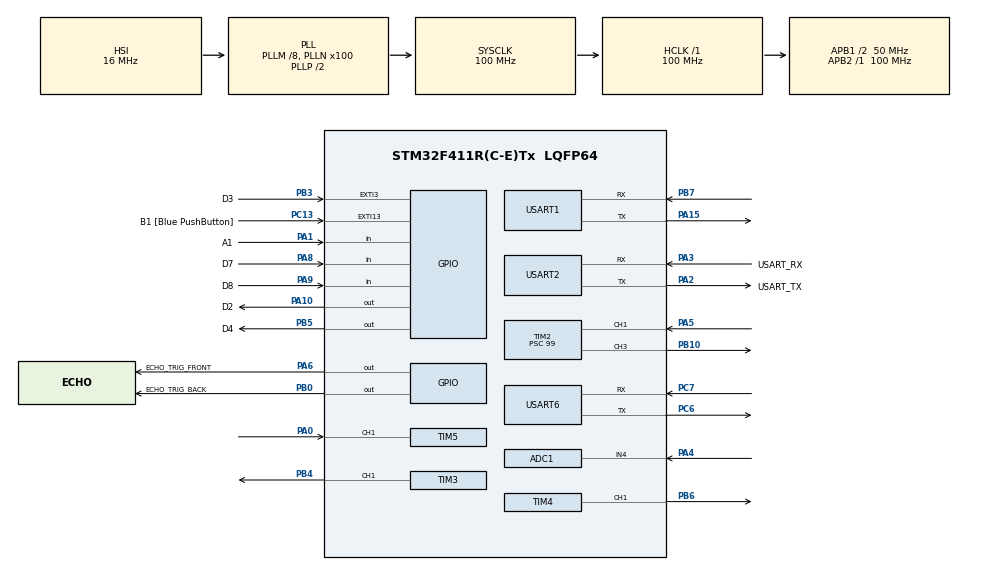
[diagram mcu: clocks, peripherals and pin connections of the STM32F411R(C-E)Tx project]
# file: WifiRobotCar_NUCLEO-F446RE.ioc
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ADC1.Channel-2\#ChannelRegularConversion=ADC_CHANNEL_4
ADC1.InjNumberOfConversion=0
ADC1.NbrOfConversion=1
ADC1.NbrOfConversionFlag=1
ADC1.Rank-2\#ChannelRegularConversion=1
ADC1.SamplingTime-2\#ChannelRegularConversion=ADC_SAMPLETIME_3CYCLES
ADC1.master=1
Dma.Request0=USART2_RX
Dma.Request1=USART6_RX
Dma.Request2=USART1_RX
Dma.USART1_RX.2.Direction=DMA_PERIPH_TO_MEMORY
Dma.USART1_RX.2.FIFOMode=DMA_FIFOMODE_DISABLE
Dma.USART1_RX.2.Instance=DMA2_Stream2
Dma.USART1_RX.2.MemDataAlignment=DMA_MDATAALIGN_BYTE
Dma.USART1_RX.2.MemInc=DMA_MINC_ENABLE
Dma.USART1_RX.2.Mode=DMA_CIRCULAR
Dma.USART1_RX.2.PeriphDataAlignment=DMA_PDATAALIGN_BYTE
Dma.USART1_RX.2.PeriphInc=DMA_PINC_DISABLE
Dma.USART1_RX.2.Priority=DMA_PRIORITY_LOW
Dma.USART2_RX.0.Direction=DMA_PERIPH_TO_MEMORY
Dma.USART2_RX.0.FIFOMode=DMA_FIFOMODE_DISABLE
Dma.USART2_RX.0.Instance=DMA1_Stream5
Dma.USART2_RX.0.MemDataAlignment=DMA_MDATAALIGN_BYTE
Dma.USART2_RX.0.MemInc=DMA_MINC_ENABLE
Dma.USART2_RX.0.Mode=DMA_CIRCULAR
Dma.USART2_RX.0.PeriphDataAlignment=DMA_PDATAALIGN_BYTE
Dma.USART2_RX.0.PeriphInc=DMA_PINC_DISABLE
Dma.USART2_RX.0.Priority=DMA_PRIORITY_LOW
Dma.USART6_RX.1.Direction=DMA_PERIPH_TO_MEMORY
Dma.USART6_RX.1.FIFOMode=DMA_FIFOMODE_DISABLE
Dma.USART6_RX.1.Instance=DMA2_Stream1
Dma.USART6_RX.1.MemDataAlignment=DMA_MDATAALIGN_BYTE
Dma.USART6_RX.1.MemInc=DMA_MINC_ENABLE
Dma.USART6_RX.1.Mode=DMA_CIRCULAR
Dma.USART6_RX.1.PeriphDataAlignment=DMA_PDATAALIGN_BYTE
Dma.USART6_RX.1.PeriphInc=DMA_PINC_DISABLE
Dma.USART6_RX.1.Priority=DMA_PRIORITY_LOW
Mcu.Family=STM32F4
Mcu.Name=STM32F411R(C-E)Tx
Mcu.Package=LQFP64
NVIC.DMA1_Stream5_IRQn=true\:0\:0\:false\:false\:true\:false\:true\:true
NVIC.DMA2_Stream1_IRQn=true\:0\:0\:false\:false\:true\:false\:true\:true
NVIC.DMA2_Stream2_IRQn=true\:0\:0\:false\:false\:true\:false\:true\:true
NVIC.EXTI3_IRQn=true\:0\:0\:false\:false\:true\:true\:true\:true
NVIC.PriorityGroup=NVIC_PRIORITYGROUP_0
NVIC.TIM1_UP_TIM10_IRQn=true\:0\:0\:false\:false\:true\:true\:true\:true
NVIC.TIM2_IRQn=true\:0\:0\:false\:false\:true\:true\:true\:true
NVIC.TIM5_IRQn=true\:0\:0\:false\:false\:true\:true\:true\:true
NVIC.TimeBase=TIM1_UP_TIM10_IRQn
NVIC.TimeBaseIP=TIM10
NVIC.USART1_IRQn=true\:0\:0\:false\:false\:true\:true\:true\:true
NVIC.USART2_IRQn=true\:0\:0\:false\:false\:true\:true\:true\:true
NVIC.USART6_IRQn=true\:0\:0\:false\:false\:true\:true\:true\:true
PA0-WKUP.Signal=S_TIM5_CH1
PA1.GPIO_Label=A1
PA1.Signal=GPIO_Input
PA10.GPIO_Label=D2
PA10.Signal=GPIO_Output
PA13.GPIO_Label=TMS
PA13.Mode=Serial_Wire
PA13.Signal=SYS_JTMS-SWDIO
PA14.GPIO_Label=TCK
PA14.Mode=Serial_Wire
PA14.Signal=SYS_JTCK-SWCLK
PA15.Mode=Asynchronous
PA15.Signal=USART1_TX
PA2.GPIO_Label=USART_TX
PA2.Mode=Asynchronous
PA2.Signal=USART2_TX
PA3.GPIO_Label=USART_RX
PA3.Mode=Asynchronous
PA3.Signal=USART2_RX
PA4.Signal=ADCx_IN4
PA5.Signal=S_TIM2_CH1_ETR
PA6.GPIO_Label=ECHO_TRIG_FRONT
PA6.Signal=GPIO_Output
PA8.GPIO_Label=D7
PA8.Signal=GPIO_Input
PA9.GPIO_Label=D8
PA9.Signal=GPIO_Input
PB0.GPIO_Label=ECHO_TRIG_BACK
PB0.Signal=GPIO_Output
PB10.Signal=S_TIM2_CH3
PB3.GPIO_Label=D3
PB3.GPIO_ModeDefaultEXTI=GPIO_MODE_IT_FALLING
PB3.Signal=GPXTI3
PB4.Signal=S_TIM3_CH1
PB5.GPIO_Label=D4
PB5.Signal=GPIO_Output
PB6.Signal=S_TIM4_CH1
PB7.Mode=Asynchronous
PB7.Signal=USART1_RX
PC13-ANTI_TAMP.GPIO_Label=B1 [Blue PushButton]
PC13-ANTI_TAMP.GPIO_ModeDefaultEXTI=GPIO_MODE_IT_FALLING
PC13-ANTI_TAMP.Signal=GPXTI13
PC14-OSC32_IN.Signal=RCC_OSC32_IN
PC15-OSC32_OUT.Signal=RCC_OSC32_OUT
PC6.Mode=Asynchronous
PC6.Signal=USART6_TX
PC7.Mode=Asynchronous
PC7.Signal=USART6_RX
PH0\ -\ OSC_IN.Signal=RCC_OSC_IN
PH1\ -\ OSC_OUT.Signal=RCC_OSC_OUT
ProjectManager.HeapSize=0x200
ProjectManager.StackSize=0x400
ProjectManager.TargetToolchain=STM32CubeIDE
RCC.48MHZClocksFreq_Value=50000000
RCC.AHBFreq_Value=100000000
RCC.APB1CLKDivider=RCC_HCLK_DIV2
RCC.APB1Freq_Value=50000000
RCC.APB1TimFreq_Value=100000000
RCC.APB2Freq_Value=100000000
RCC.APB2TimFreq_Value=100000000
RCC.CortexFreq_Value=100000000
RCC.FLatency-AdvancedSettings=FLASH_LATENCY_3
RCC.HCLKFreq_Value=100000000
RCC.HSE_VALUE=8000000
RCC.HSI_VALUE=16000000
RCC.LSE_VALUE=32768
RCC.PLLM=8
RCC.PLLN=100
RCC.SYSCLKFreq_VALUE=100000000
RCC.SYSCLKSource=RCC_SYSCLKSOURCE_PLLCLK
RCC.VCOOutputFreq_Value=200000000
SH.ADCx_IN4.0=ADC1_IN4,IN4
SH.S_TIM2_CH1_ETR.0=TIM2_CH1,Input_Capture1_from_TI1
SH.S_TIM2_CH3.0=TIM2_CH3,PWM Generation3 CH3
SH.S_TIM3_CH1.0=TIM3_CH1,PWM Generation1 CH1
SH.S_TIM4_CH1.0=TIM4_CH1,PWM Generation1 CH1
SH.S_TIM5_CH1.0=TIM5_CH1,Input_Capture1_from_TI1
TIM11.Prescaler=99
TIM2.Channel-Input_Capture1_from_TI1=TIM_CHANNEL_1
TIM2.Channel-PWM\ Generation3\ CH3=TIM_CHANNEL_3
TIM2.Period=999
TIM2.Prescaler=99
TIM3.Channel-PWM\ Generation1\ CH1=TIM_CHANNEL_1
TIM3.Period=999
TIM3.Prescaler=99
TIM4.Channel-PWM\ Generation1\ CH1=TIM_CHANNEL_1
TIM4.Period=1999
TIM4.Prescaler=999
TIM4.Pulse-PWM\ Generation1\ CH1=49
TIM5.Channel-Input_Capture1_from_TI1=TIM_CHANNEL_1
USART1.VirtualMode=VM_ASYNC
USART2.VirtualMode=VM_ASYNC
USART6.VirtualMode=VM_ASYNC
VP_SYS_VS_tim10.Mode=TIM10
VP_TIM11_VS_ClockSourceINT.Mode=Enable_Timer
VP_TIM2_VS_ClockSourceINT.Mode=Internal
VP_TIM3_VS_ClockSourceINT.Mode=Internal
VP_TIM4_VS_ClockSourceINT.Mode=Internal
VP_TIM5_VS_ClockSourceINT.Mode=Internal
board=NUCLEO-F411RE

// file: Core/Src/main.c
/* USER CODE BEGIN Header */
/**
  ******************************************************************************
  * @file           : main.c
  * @brief          : Main program body
  ******************************************************************************
  * @attention
  *
  * Copyright (c) 2023 STMicroelectronics.
  * All rights reserved.
  *
  * This software is licensed under terms that can be found in the LICENSE file
  * in the root directory of this software component.
  * If no LICENSE file comes with this software, it is provided AS-IS.
  *
  ******************************************************************************
  */
/* USER CODE END Header */
#include "main.h"
#include "adc.h"
#include "dma.h"
#include "tim.h"
#include "usart.h"
#include "gpio.h"

/* USER CODE BEGIN Includes */
#include <stdio.h>
#include <stdbool.h>
#include "HCSR04.h"
#include "tm_stm32_delay.h"
/* USER CODE END Includes */

/* USER CODE BEGIN PTD */
typedef enum {
    White = 0,
    Black = 1
} LineColor_en;

typedef enum {
	Straight = 0,
	Rotation = 1,
	Turning = 2
}TypeMovement_en;

typedef struct {
    volatile bool LeftTraValue;
    volatile bool CenterTraValue;
    volatile bool RightTraValue;
} InfraredValues;
/* USER CODE END PTD */

/* USER CODE BEGIN PD */
#define FORWARD_SPEED			(70)
#define TURNING_SPEED			(FORWARD_SPEED)
#define ROTATE_SPEED 			(FORWARD_SPEED / 2)
#define ACCELERATION			(2)
#define DISTANCE_STOP			(20U)
#define CMD_LEN_1				(3U)
#define CMD_LEN_2				(4U)
#define CMD_LEN_6				(3U)
#define SERVO_ANGLE				(90U)
#define MAX_ATTEMPTS 			(3U)
#define AUTO_STOP_DELAY_TIME	(500U)
#define SEARCH_TRACK_LINE_TIME	(500U)
#define HCSR04_SENSOR1  		(0U)
#define HCSR04_SENSOR2  		(1U)
#define PERIOD_SCAN_MOVE_CMD	(20U)
#define PERIOD_SCAN_DISTANCE	(100U)
#define PERIOD_SCAN_VOLTAGE_BAT (5000U)
#define REPEAT					(1U)
#define ONCE					(0U)
#define IMMEDIATELY				(1U)
#define AFTER_START_API			(0U)
#define HCSR04_SENSOR1  		(0U)
#define MAX_VOLTAGE_BAT			(9.2)
#define MIN_VOLTAGE_BAT			(5.6)
/* USER CODE END PD */

/* USER CODE BEGIN PV */
//FORVARD			%F#
//BACKWARD			%B#
//LEFT				%L#
//RIGHT				%R#
//CAM_UP			%H#
//CAM_DOWN			%G#
//LINE_TRACKING		%T#
//OBJECT_AVOIDANCE	%A#
//OBJECT_FOLOWING	%Z#
//STOP				%S#
uint8_t rxBuffer_1[CMD_LEN_1] = {'\000'};
uint8_t rxBuffer_2[CMD_LEN_2] = {'\000'};
uint8_t rxBuffer_6[CMD_LEN_6] = {'\000'};
volatile uint8_t cmd = '\000';
volatile bool flagCmdCompletion = false;
volatile bool flagDirect = false;
volatile bool flagScanDistance = false;
volatile bool flagScanVoltageBat = false;
uint8_t servoAngle = SERVO_ANGLE;
uint8_t bitIndex;
uint8_t cmdli;
uint32_t code;
uint32_t tempCode;
InfraredValues infrared;
float distanceFront = 0.0;
float distanceBack = 0.0;
float voltageBat = 0.0;
TM_DELAY_Timer_t* pTimerScanMoveCmd;
TM_DELAY_Timer_t* pTimerAutoStop;
TM_DELAY_Timer_t* pTimerSearchTrackLine;
TM_DELAY_Timer_t* pTimerScanDistance;
TM_DELAY_Timer_t* pTimerScanVoltageBat;
int currentSpeed = 0;
/* USER CODE END PV */

void SystemClock_Config(void);
/* USER CODE BEGIN PFP */
void Move_Forward(int car_speed);
void Move_Backward(int car_speed);
void Rotate_Left(int car_speed);
void Rotate_Right(int car_speed);
void Turn_Left(int car_speed);
void Turn_Right(int car_speed);
void Stop();
void Move(int car_speed, TypeMovement_en type);
uint8_t ConvertCode (uint32_t code);
int map(int st1, int fn1, int st2, int fn2, int value);
void ServoWrite(int angle);
void InfraredTracing(InfraredValues* infrared);
void ReadSensors(InfraredValues* infrared);
void ScanMoveCmd(struct _TM_DELAY_Timer_t* my_timer, void *parameters);
void AutoStopMove(struct _TM_DELAY_Timer_t* my_timer, void *parameters);
void SearchTrackLine(struct _TM_DELAY_Timer_t* my_timer, void *parameters);
void ScanDistance(struct _TM_DELAY_Timer_t* my_timer, void *parameters);
void ScanVoltageBat(struct _TM_DELAY_Timer_t* my_timer, void *parameters);
float UltraSonicDistance(uint8_t idx);
/* USER CODE END PFP */

/* USER CODE BEGIN 0 */
int _write(int file, char *ptr, int len)
{
	HAL_UART_Transmit(&huart2, (uint8_t*) ptr, len, HAL_MAX_DELAY);
	return len;
}
/* USER CODE END 0 */

int main(void)
{

  /* MCU Configuration--------------------------------------------------------*/

  /* Reset of all peripherals, Initializes the Flash interface and the Systick. */
  HAL_Init();

  /* Configure the system clock */
  SystemClock_Config();

  /* Initialize all configured peripherals */
  MX_GPIO_Init();
  MX_DMA_Init();
  MX_USART2_UART_Init();
  MX_TIM2_Init();
  MX_TIM3_Init();
  MX_USART6_UART_Init();
  MX_USART1_UART_Init();
  MX_TIM11_Init();
  MX_TIM4_Init();
  MX_TIM5_Init();
  MX_ADC1_Init();
  /* USER CODE BEGIN 2 */
  printf("WiFi Robot Car is Started\r\n");
  HAL_ADC_Start(&hadc1);
  HAL_TIM_PWM_Start(&htim2, TIM_CHANNEL_3);
  HAL_TIM_PWM_Start(&htim3, TIM_CHANNEL_1);
  HAL_UART_Receive_DMA(&huart1, rxBuffer_1, CMD_LEN_1);
  HAL_UART_Receive_DMA(&huart2, rxBuffer_2, CMD_LEN_2);
  HAL_UART_Receive_DMA(&huart6, rxBuffer_6, CMD_LEN_6);
  HAL_TIM_Base_Start(&htim11);
  __HAL_TIM_SET_COUNTER(&htim11, 0);
  HAL_TIM_PWM_Start(&htim4, TIM_CHANNEL_1);
  ServoWrite(90);
  TM_DELAY_Init();
  HCSR04_Init(HCSR04_SENSOR1, &htim2);
  HCSR04_Init(HCSR04_SENSOR2, &htim5);
  pTimerScanMoveCmd	= TM_DELAY_TimerCreate(PERIOD_SCAN_MOVE_CMD, REPEAT, IMMEDIATELY, ScanMoveCmd, NULL);
  pTimerAutoStop = TM_DELAY_TimerCreate(AUTO_STOP_DELAY_TIME, ONCE, AFTER_START_API, AutoStopMove, NULL);
  pTimerSearchTrackLine = TM_DELAY_TimerCreate(SEARCH_TRACK_LINE_TIME, REPEAT, AFTER_START_API, SearchTrackLine, NULL);
  pTimerScanDistance = TM_DELAY_TimerCreate(PERIOD_SCAN_DISTANCE, REPEAT, IMMEDIATELY, ScanDistance, NULL);
  pTimerScanDistance = TM_DELAY_TimerCreate(PERIOD_SCAN_VOLTAGE_BAT, REPEAT, IMMEDIATELY, ScanVoltageBat, NULL);
  /* USER CODE END 2 */

  /* Infinite loop */
  /* USER CODE BEGIN WHILE */
  while (1)
  {
	  if (flagScanVoltageBat)
	  {
		  flagScanVoltageBat = false;
		  HAL_ADC_Start(&hadc1);
		  voltageBat = (float) HAL_ADC_GetValue(&hadc1) * MAX_VOLTAGE_BAT / 4096.0;
		  printf("ADC value = %ld.%d (%d%%)\r\n", (uint32_t) voltageBat,
				  (uint8_t) (((float) voltageBat - (uint32_t) voltageBat) * 10.0),
				  map(56, 84, 0, 100, (int) (voltageBat * 10.0)));
		  if (voltageBat < MIN_VOLTAGE_BAT)
		  {
			  Error_Handler();
		  }
	  }

	  if (flagScanDistance)
	  {
		  flagScanDistance = false;

		  distanceFront = UltraSonicDistance(HCSR04_SENSOR1);
		  distanceBack = UltraSonicDistance(HCSR04_SENSOR2);
//		  printf("Distance Front = %d\r\n", (int) distanceFront);
//		  printf("Distance Back = %d\r\n", (int) distanceBack);

		  if (distanceFront < DISTANCE_STOP && cmd == 'F')
		  {
			  currentSpeed = 0;
			  __HAL_TIM_SET_COMPARE(&htim2, TIM_CHANNEL_3, (uint32_t) currentSpeed);
			  __HAL_TIM_SET_COMPARE(&htim3, TIM_CHANNEL_1, (uint32_t) currentSpeed);
			  cmd = 'S';
		  }

		  if (distanceBack < DISTANCE_STOP && cmd == 'B')
		  {
			  currentSpeed = 0;
			  __HAL_TIM_SET_COMPARE(&htim2, TIM_CHANNEL_3, (uint32_t) currentSpeed);
			  __HAL_TIM_SET_COMPARE(&htim3, TIM_CHANNEL_1, (uint32_t) currentSpeed);
			  cmd = 'S';
		  }
	  }

	  if (flagCmdCompletion)
	  {
		  flagCmdCompletion = false;
		  printf("CMD: %c\r\n", cmd);
		  switch (cmd)
		  {
				case 'H':
					servoAngle = servoAngle + 4;
					if (servoAngle >= 180)
					{
						servoAngle = 180;
					}
					ServoWrite(servoAngle);
					break;
				case 'G':
					servoAngle = servoAngle - 4;
					if (servoAngle <= 0)
					{
						servoAngle = 0;
					}
					ServoWrite(servoAngle);
					break;
				case 'T':
					InfraredTracing(&infrared);
					break;
				default:
					break;
	  }
	}
    /* USER CODE END WHILE */

  }
}

void SystemClock_Config(void)
{
  RCC_OscInitTypeDef RCC_OscInitStruct = {0};
  RCC_ClkInitTypeDef RCC_ClkInitStruct = {0};

  /** Configure the main internal regulator output voltage
  */
  __HAL_RCC_PWR_CLK_ENABLE();
  __HAL_PWR_VOLTAGESCALING_CONFIG(PWR_REGULATOR_VOLTAGE_SCALE1);

  /** Initializes the RCC Oscillators according to the specified parameters
  * in the RCC_OscInitTypeDef structure.
  */
  RCC_OscInitStruct.OscillatorType = RCC_OSCILLATORTYPE_HSI;
  RCC_OscInitStruct.HSIState = RCC_HSI_ON;
  RCC_OscInitStruct.HSICalibrationValue = RCC_HSICALIBRATION_DEFAULT;
  RCC_OscInitStruct.PLL.PLLState = RCC_PLL_ON;
  RCC_OscInitStruct.PLL.PLLSource = RCC_PLLSOURCE_HSI;
  RCC_OscInitStruct.PLL.PLLM = 8;
  RCC_OscInitStruct.PLL.PLLN = 100;
  RCC_OscInitStruct.PLL.PLLP = RCC_PLLP_DIV2;
  RCC_OscInitStruct.PLL.PLLQ = 4;
  if (HAL_RCC_OscConfig(&RCC_OscInitStruct) != HAL_OK)
  {
    Error_Handler();
  }

  /** Initializes the CPU, AHB and APB buses clocks
  */
  RCC_ClkInitStruct.ClockType = RCC_CLOCKTYPE_HCLK|RCC_CLOCKTYPE_SYSCLK
                              |RCC_CLOCKTYPE_PCLK1|RCC_CLOCKTYPE_PCLK2;
  RCC_ClkInitStruct.SYSCLKSource = RCC_SYSCLKSOURCE_PLLCLK;
  RCC_ClkInitStruct.AHBCLKDivider = RCC_SYSCLK_DIV1;
  RCC_ClkInitStruct.APB1CLKDivider = RCC_HCLK_DIV2;
  RCC_ClkInitStruct.APB2CLKDivider = RCC_HCLK_DIV1;

  if (HAL_RCC_ClockConfig(&RCC_ClkInitStruct, FLASH_LATENCY_3) != HAL_OK)
  {
    Error_Handler();
  }
}

/* USER CODE BEGIN 4 */
void HAL_GPIO_EXTI_Callback(uint16_t GPIO_Pin)
{
	if(GPIO_Pin == D3_Pin)
	{
		if (__HAL_TIM_GET_COUNTER(&htim11) > 8000)
		{
		  tempCode = 0;
		  bitIndex = 0;
		}
		else if (__HAL_TIM_GET_COUNTER(&htim11) > 1700)
		{
		  tempCode |= (1UL << (31-bitIndex));   // write 1
		  bitIndex++;
		}
		else if (__HAL_TIM_GET_COUNTER(&htim11) > 1000)
		{
		  tempCode &= ~(1UL << (31-bitIndex));  // write 0
		  bitIndex++;
		}
		if(bitIndex == 32)
		{
		  cmdli = ~tempCode; // Logical inverted last 8 bits
		  cmd = tempCode >> 8; // Second last 8 bits

		  if(cmdli == cmd) // Check for errors
		  {
			code = tempCode; // If no bit errors
			printf("IrDA cmd: %#lx\r\n", code);
			cmd = ConvertCode(code);
		  }
		  bitIndex = 0;
		}
		  __HAL_TIM_SET_COUNTER(&htim11, 0);
	}
}

void HAL_UART_RxCpltCallback(UART_HandleTypeDef *huart)
{
	if (huart->Instance == USART1)
	{
		if (('%' == rxBuffer_1[0]) && ('#' == rxBuffer_1[2]))
		{
			cmd = rxBuffer_1[1];
			rxBuffer_1[0] = '\000';
			rxBuffer_1[1] = '\000';
			rxBuffer_1[2] = '\000';
			flagCmdCompletion = true;
		}
	}

	if (huart->Instance == USART2)
	{
		if (('%' == rxBuffer_2[0]) && ('#' == rxBuffer_2[2]))
		{
			cmd = rxBuffer_2[1];
			rxBuffer_2[0] = '\000';
			rxBuffer_2[1] = '\000';
			rxBuffer_2[2] = '\000';
			flagCmdCompletion = true;
		}
	}

	if (huart->Instance == USART6)
	{
		if (('%' == rxBuffer_6[0]) && ('#' == rxBuffer_6[2]))
		{
			cmd = rxBuffer_6[1];
			rxBuffer_6[0] = '\000';
			rxBuffer_6[1] = '\000';
			rxBuffer_6[2] = '\000';
			flagCmdCompletion = true;
			pTimerAutoStop = TM_DELAY_TimerAutoReloadValue(pTimerAutoStop, AUTO_STOP_DELAY_TIME);
			pTimerAutoStop = TM_DELAY_TimerStart(pTimerAutoStop);
		}
	}
}

void HAL_TIM_IC_CaptureCallback(TIM_HandleTypeDef *htim)
{
	HCSR04_TMR_IC_ISR(htim);
}

void Move_Forward(int car_speed)
{
	Move(car_speed, Straight);
}

void Move_Backward(int car_speed)
{
	Move(-car_speed, Straight);
}

void Rotate_Left(int car_speed)
{
	Move(-car_speed, Rotation);
}

void Rotate_Right(int car_speed)
{
	Move(car_speed, Rotation);
}

void Turn_Left(int car_speed)
{
	Move(-car_speed, Turning);
}

void Turn_Right(int car_speed)
{
	Move(car_speed, Turning);
}

void Stop()
{
	Move(0, Straight);
}

void Move(int car_speed, TypeMovement_en type)
{
	int pulse;

	if (currentSpeed < car_speed)
	{
		currentSpeed = currentSpeed + ACCELERATION;

		if (currentSpeed > car_speed)
		{
			currentSpeed = car_speed;
		}
	}
	else if (currentSpeed > car_speed)
	{
		currentSpeed = currentSpeed - ACCELERATION;

		if (currentSpeed < car_speed)
		{
			currentSpeed = car_speed;
		}
	}
	else
	{
		currentSpeed = currentSpeed;
	}

	if (currentSpeed > 0)
	{
		pulse = map(0, 100, 0, 999, currentSpeed);
		if (type == Straight)
		{
			HAL_GPIO_WritePin(D2_GPIO_Port, D2_Pin, GPIO_PIN_SET);
			HAL_GPIO_WritePin(D4_GPIO_Port, D4_Pin, GPIO_PIN_RESET);
			__HAL_TIM_SET_COMPARE(&htim2, TIM_CHANNEL_3, (uint32_t) pulse);
			__HAL_TIM_SET_COMPARE(&htim3, TIM_CHANNEL_1, (uint32_t) pulse);
		}
		else if (type == Rotation)
		{
			HAL_GPIO_WritePin(D2_GPIO_Port, D2_Pin, GPIO_PIN_SET);
			HAL_GPIO_WritePin(D4_GPIO_Port, D4_Pin, GPIO_PIN_SET);
			__HAL_TIM_SET_COMPARE(&htim2, TIM_CHANNEL_3, (uint32_t) pulse);
			__HAL_TIM_SET_COMPARE(&htim3, TIM_CHANNEL_1, (uint32_t) pulse);
		}
		else if (type == Turning)
		{
			HAL_GPIO_WritePin(D2_GPIO_Port, D2_Pin, GPIO_PIN_SET);
			HAL_GPIO_WritePin(D4_GPIO_Port, D4_Pin, GPIO_PIN_RESET);
			__HAL_TIM_SET_COMPARE(&htim2, TIM_CHANNEL_3, (uint32_t) pulse / 3);
			__HAL_TIM_SET_COMPARE(&htim3, TIM_CHANNEL_1, (uint32_t) pulse);
		}
	}
	else
	{
		pulse = map(0, -100, 0, 999, currentSpeed);
		if (type == Straight)
		{
			HAL_GPIO_WritePin(D2_GPIO_Port, D2_Pin, GPIO_PIN_RESET);
			HAL_GPIO_WritePin(D4_GPIO_Port, D4_Pin, GPIO_PIN_SET);
			__HAL_TIM_SET_COMPARE(&htim2, TIM_CHANNEL_3, (uint32_t) pulse);
			__HAL_TIM_SET_COMPARE(&htim3, TIM_CHANNEL_1, (uint32_t) pulse);
		}
		else if (type == Rotation)
		{
			HAL_GPIO_WritePin(D2_GPIO_Port, D2_Pin, GPIO_PIN_RESET);
			HAL_GPIO_WritePin(D4_GPIO_Port, D4_Pin, GPIO_PIN_RESET);
			__HAL_TIM_SET_COMPARE(&htim2, TIM_CHANNEL_3, (uint32_t) pulse);
			__HAL_TIM_SET_COMPARE(&htim3, TIM_CHANNEL_1, (uint32_t) pulse);
		}
		else if (type == Turning)
		{
			HAL_GPIO_WritePin(D2_GPIO_Port, D2_Pin, GPIO_PIN_SET);
			HAL_GPIO_WritePin(D4_GPIO_Port, D4_Pin, GPIO_PIN_RESET);
			__HAL_TIM_SET_COMPARE(&htim2, TIM_CHANNEL_3, (uint32_t) pulse);
			__HAL_TIM_SET_COMPARE(&htim3, TIM_CHANNEL_1, (uint32_t) pulse / 3);
		}
	}
}

uint8_t ConvertCode (uint32_t code)
{
	uint8_t cmd = '\000';
	switch (code)
	{
		case (0xFFA25D):
			flagCmdCompletion = true;
			break;

		case (0xFF629D):
			cmd = 'F';
			flagCmdCompletion = true;
			break;

		case (0xFFE21D):
			flagCmdCompletion = true;
			break;

		case (0xFF22DD):
			cmd = 'L';
			flagCmdCompletion = true;
			break;

		case (0xFF02FD):
			cmd = 'S';
			flagCmdCompletion = true;
			break;

		case (0xFFC23D):
			cmd = 'R';
			flagCmdCompletion = true;
			break;

		case (0xFFE01F):
			flagCmdCompletion = true;
			break;

		case (0xFFA857):
			cmd = 'B';
			flagCmdCompletion = true;
			break;

		case (0xFF906F):
			flagCmdCompletion = true;
			break;

		case (0xFFB04F):
			flagCmdCompletion = true;
			break;

		case (0XFF6897):
			flagCmdCompletion = true;
			break;

		case (0xFF9867):
			cmd = 'H';
			flagCmdCompletion = true;
			break;

		case (0xFF38C7):
			cmd = 'G';
			flagCmdCompletion = true;
			break;

		case (0xFF18E7):
			flagCmdCompletion = true;
			break;

		case (0xFF10EF):
			flagCmdCompletion = true;
			break;

		case (0xFF5AA5):
			flagCmdCompletion = true;
			break;

		case (0xFF4AB5):
			flagCmdCompletion = true;
			break;

		case (0xFF30CF):
			cmd = 'T';
			flagCmdCompletion = true;
			break;
		default :
			break;
	}
	return cmd;
}

int map(int st1, int fn1, int st2, int fn2, int value)
{
    return (int)((float)(value - st1) * (fn2 - st2) / (float)(fn1 - st1) + st2);
}

void ServoWrite(int angle)
{
	htim4.Instance->CCR1 = map(0, 180, 50, 250, angle);
}

void ReadSensors(InfraredValues* infrared)
{
	infrared->LeftTraValue = HAL_GPIO_ReadPin(A1_GPIO_Port, A1_Pin);
    infrared->CenterTraValue = HAL_GPIO_ReadPin(D7_GPIO_Port, D7_Pin);
    infrared->RightTraValue = HAL_GPIO_ReadPin(D8_GPIO_Port, D8_Pin);
}

void InfraredTracing(InfraredValues* infrared)
{
	while(cmd == 'T')
	{
		ReadSensors(infrared);

		if (infrared->LeftTraValue == White && (infrared->CenterTraValue == Black && infrared->RightTraValue == White))
		{
			Move_Forward(FORWARD_SPEED);
		}
		else if (infrared->LeftTraValue == Black && (infrared->CenterTraValue == Black && infrared->RightTraValue == White))
		{
			Rotate_Left((uint32_t) ROTATE_SPEED - 10U);
		}
		else if (infrared->LeftTraValue == Black && (infrared->CenterTraValue == White && infrared->RightTraValue == White))
		{
			Rotate_Left(ROTATE_SPEED);
		}
		else if (infrared->LeftTraValue == White && (infrared->CenterTraValue == White && infrared->RightTraValue == Black))
		{
			Rotate_Right(ROTATE_SPEED);
		}
		else if (infrared->LeftTraValue == White && (infrared->CenterTraValue == Black && infrared->RightTraValue == Black))
		{
			Rotate_Right((uint32_t) ROTATE_SPEED - 10U);
		}
		else if (infrared->LeftTraValue == Black && (infrared->CenterTraValue == Black && infrared->RightTraValue == Black))
		{
			pTimerSearchTrackLine = TM_DELAY_TimerStart(pTimerSearchTrackLine);

			while (cmd == 'T' && (infrared->LeftTraValue == Black && (infrared->CenterTraValue == Black && infrared->RightTraValue == Black)))
			{
				ReadSensors(infrared);

				if(flagDirect)
				{
					Move_Forward(ROTATE_SPEED);
				}
				else
				{
					Rotate_Left(ROTATE_SPEED);
				}
			}
			pTimerSearchTrackLine = TM_DELAY_TimerStop(pTimerSearchTrackLine);
		}
	}
}

void ScanMoveCmd(struct _TM_DELAY_Timer_t* my_timer, void *parameters)
{
	switch (cmd)
	{
		case 'F':
			Move_Forward((int) FORWARD_SPEED);
			break;
		case 'B':
			Move_Backward((int) FORWARD_SPEED);
			break;
		case 'L':
			Rotate_Left(ROTATE_SPEED);
//			Turn_Left((int) TURNING_SPEED);
			break;
		case 'R':
			Rotate_Right(ROTATE_SPEED);
//			Turn_Right((int) TURNING_SPEED);
			break;
		case 'S':
			Stop();
			break;
		default:
			break;
	}
}

void AutoStopMove(struct _TM_DELAY_Timer_t* my_timer, void *parameters)
{
	Stop();
}

void SearchTrackLine(struct _TM_DELAY_Timer_t* my_timer, void *parameters)
{
	flagDirect = !flagDirect;
}

void ScanDistance(struct _TM_DELAY_Timer_t* my_timer, void *parameters)
{
	flagScanDistance = true;
}

float UltraSonicDistance(uint8_t idx)
{
	HCSR04_Trigger(idx);
	HAL_Delay(1);
	return HCSR04_Read(idx);
}

void ScanVoltageBat(struct _TM_DELAY_Timer_t* my_timer, void *parameters)
{
	flagScanVoltageBat = true;
}
/* USER CODE END 4 */

void HAL_TIM_PeriodElapsedCallback(TIM_HandleTypeDef *htim)
{
  /* USER CODE BEGIN Callback 0 */
  HCSR04_TMR_OVF_ISR(htim);
  /* USER CODE END Callback 0 */
  if (htim->Instance == TIM10) {
    HAL_IncTick();
  }
}

void Error_Handler(void)
{
  /* USER CODE BEGIN Error_Handler_Debug */
	currentSpeed = 0;
	__HAL_TIM_SET_COMPARE(&htim2, TIM_CHANNEL_3, (uint32_t) currentSpeed);
	__HAL_TIM_SET_COMPARE(&htim3, TIM_CHANNEL_1, (uint32_t) currentSpeed);
	cmd = 'S';
  /* User can add his own implementation to report the HAL error return state */
  __disable_irq();
  while (1)
  {

  }
  /* USER CODE END Error_Handler_Debug */
}
